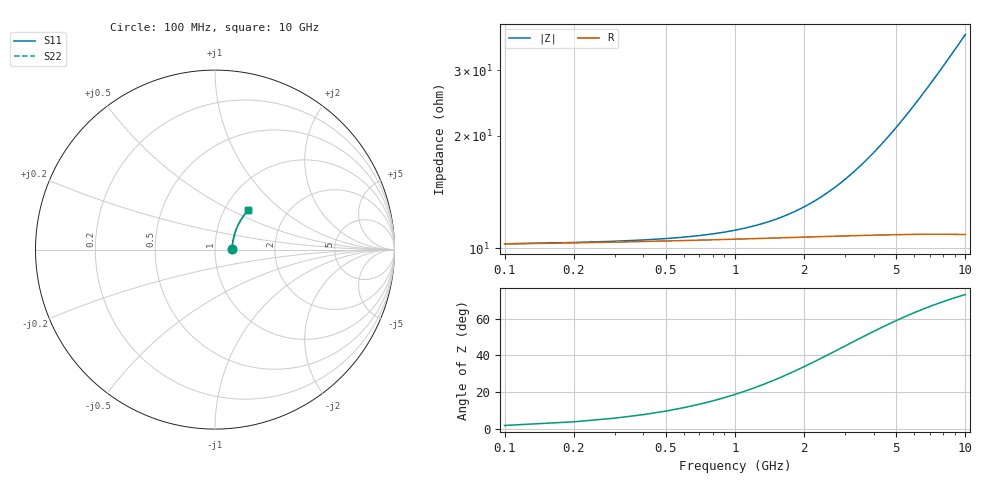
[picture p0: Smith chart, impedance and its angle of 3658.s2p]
# Hz S RI R 50.00
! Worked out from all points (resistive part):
!   100 points, 100 MHz to 10 GHz, reference 50 ohm
!   read as one part in series: R = 10.3 ohm at 100 MHz
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1e8  0.0932 0.00252  0.9068 -0.00342  0.9068 -0.00342  0.0932 0.00252
6e8  0.0953 0.015  0.9046 -0.0204  0.9046 -0.0204  0.0953 0.015
8e8  0.096 0.02  0.904 -0.0272  0.904 -0.0272  0.096 0.02
1e9  0.0967 0.025  0.9033 -0.034  0.9033 -0.034  0.0967 0.025
1.2e9  0.0974 0.03  0.9025 -0.0407  0.9025 -0.0407  0.0974 0.03
1.4e9  0.0981 0.0349  0.9018 -0.0475  0.9018 -0.0475  0.0981 0.0349
1.8e9  0.0998 0.0448  0.9001 -0.0609  0.9001 -0.0609  0.0998 0.0448
2.1e9  0.1011 0.0521  0.8987 -0.071  0.8987 -0.071  0.1011 0.0521
2.4e9  0.1026 0.0594  0.8971 -0.081  0.8971 -0.081  0.1026 0.0594
3.4e9  0.1087 0.0835  0.8908 -0.114  0.8908 -0.114  0.1087 0.0835
4.3e9  0.1155 0.1045  0.8837 -0.1432  0.8837 -0.1432  0.1155 0.1045
5.1e9  0.1226 0.1228  0.8763 -0.1687  0.8763 -0.1687  0.1226 0.1228
5.5e9  0.1265 0.1317  0.8722 -0.1812  0.8722 -0.1812  0.1265 0.1317
5.9e9  0.1306 0.1405  0.8678 -0.1936  0.8678 -0.1936  0.1306 0.1405
6.3e9  0.135 0.1491  0.8632 -0.2058  0.8632 -0.2058  0.135 0.1491
6.7e9  0.1397 0.1575  0.8584 -0.2178  0.8584 -0.2178  0.1397 0.1575
7.1e9  0.1445 0.1658  0.8533 -0.2297  0.8533 -0.2297  0.1445 0.1658
7.5e9  0.1496 0.1739  0.848 -0.2414  0.848 -0.2414  0.1496 0.1739
7.9e9  0.1548 0.1818  0.8425 -0.253  0.8425 -0.253  0.1548 0.1818
8.4e9  0.1617 0.1914  0.8353 -0.2671  0.8353 -0.2671  0.1617 0.1914
9.2e9  0.1733 0.2061  0.8231 -0.2891  0.8231 -0.2891  0.1733 0.2061
1e10  0.1855 0.22  0.8101 -0.3103  0.8101 -0.3103  0.1855 0.22
